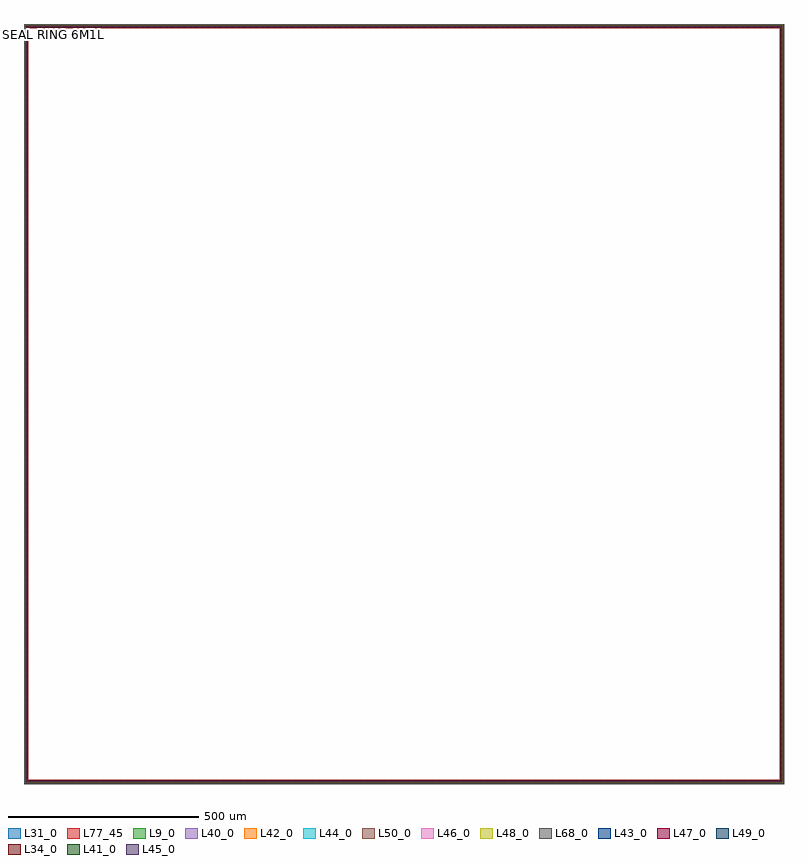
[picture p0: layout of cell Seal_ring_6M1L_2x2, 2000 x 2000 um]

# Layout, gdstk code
import gdstk
lib = gdstk.Library(unit=1e-6, precision=1e-09)
def P(c, l, *ps):  # polygons
    for p in ps: c.add(gdstk.Polygon(p, *l))
L9_0 = (9, 0)
L31_0 = (31, 0)
L34_0 = (34, 0)
L40_0 = (40, 0)
L41_0 = (41, 0)
L42_0 = (42, 0)
L43_0 = (43, 0)
L44_0 = (44, 0)
L45_0 = (45, 0)
L46_0 = (46, 0)
L47_0 = (47, 0)
L48_0 = (48, 0)
L49_0 = (49, 0)
L50_0 = (50, 0)
L68_0 = (68, 0)
L77_45 = (77, 45)

seal_ring_6m1l_2x2 = lib.new_cell('Seal_ring_6M1L_2x2')
P(seal_ring_6m1l_2x2, L9_0, [(0,0),(0,2000),(1990,2000),(1990,1990),(10,1990),(10,10),(1990,10),(1990,2000),(2000,2000),(2000,0)])
P(seal_ring_6m1l_2x2, L31_0, [(0,0),(0,2000),(1989,2000),(1989,1989),(11,1989),(11,11),(1989,11),(1989,2000),(2000,2000),(2000,0)])
P(seal_ring_6m1l_2x2, L34_0, [(9.38,9.38),(9.38,1990.62),(1990.4,1990.62),(1990.4,1990.4),(9.6,1990.4),(9.6,9.6),(1990.4,9.6),(1990.4,1990.62),(1990.62,1990.62),(1990.62,9.38)],
  [(6.94,6.94),(6.94,1993.06),(1992.84,1993.06),(1992.84,1992.84),(7.16,1992.84),(7.16,7.16),(1992.84,7.16),(1992.84,1993.06),(1993.06,1993.06),(1993.06,6.94)],
  [(4.5,4.5),(4.5,1995.5),(1995.28,1995.5),(1995.28,1995.28),(4.72,1995.28),(4.72,4.72),(1995.28,4.72),(1995.28,1995.5),(1995.5,1995.5),(1995.5,4.5)])
P(seal_ring_6m1l_2x2, L40_0, [(4.1,4.1),(4.1,1995.9),(1990,1995.9),(1990,1990),(10,1990),(10,10),(1990,10),(1990,1995.9),(1995.9,1995.9),(1995.9,4.1)])
P(seal_ring_6m1l_2x2, L41_0, [(8.14,8.14),(8.14,1991.86),(1991.6,1991.86),(1991.6,1991.6),(8.4,1991.6),(8.4,8.4),(1991.6,8.4),(1991.6,1991.86),(1991.86,1991.86),(1991.86,8.14)],
  [(5.7,5.7),(5.7,1994.3),(1994.04,1994.3),(1994.04,1994.04),(5.96,1994.04),(5.96,5.96),(1994.04,5.96),(1994.04,1994.3),(1994.3,1994.3),(1994.3,5.7)])
P(seal_ring_6m1l_2x2, L42_0, [(4.1,4.1),(4.1,1995.9),(1990,1995.9),(1990,1990),(10,1990),(10,10),(1990,10),(1990,1995.9),(1995.9,1995.9),(1995.9,4.1)])
P(seal_ring_6m1l_2x2, L43_0, [(9.36,9.36),(9.36,1990.64),(1990.38,1990.64),(1990.38,1990.38),(9.62,1990.38),(9.62,9.62),(1990.38,9.62),(1990.38,1990.64),(1990.64,1990.64),(1990.64,9.36)],
  [(6.92,6.92),(6.92,1993.08),(1992.82,1993.08),(1992.82,1992.82),(7.18,1992.82),(7.18,7.18),(1992.82,7.18),(1992.82,1993.08),(1993.08,1993.08),(1993.08,6.92)],
  [(4.48,4.48),(4.48,1995.52),(1995.26,1995.52),(1995.26,1995.26),(4.74,1995.26),(4.74,4.74),(1995.26,4.74),(1995.26,1995.52),(1995.52,1995.52),(1995.52,4.48)])
P(seal_ring_6m1l_2x2, L44_0, [(4.1,4.1),(4.1,1995.9),(1990,1995.9),(1990,1990),(10,1990),(10,10),(1990,10),(1990,1995.9),(1995.9,1995.9),(1995.9,4.1)])
P(seal_ring_6m1l_2x2, L45_0, [(8.14,8.14),(8.14,1991.86),(1991.6,1991.86),(1991.6,1991.6),(8.4,1991.6),(8.4,8.4),(1991.6,8.4),(1991.6,1991.86),(1991.86,1991.86),(1991.86,8.14)],
  [(5.7,5.7),(5.7,1994.3),(1994.04,1994.3),(1994.04,1994.04),(5.96,1994.04),(5.96,5.96),(1994.04,5.96),(1994.04,1994.3),(1994.3,1994.3),(1994.3,5.7)])
P(seal_ring_6m1l_2x2, L46_0, [(4.1,4.1),(4.1,1995.9),(1990,1995.9),(1990,1990),(10,1990),(10,10),(1990,10),(1990,1995.9),(1995.9,1995.9),(1995.9,4.1)])
P(seal_ring_6m1l_2x2, L47_0, [(9.36,9.36),(9.36,1990.64),(1990.38,1990.64),(1990.38,1990.38),(9.62,1990.38),(9.62,9.62),(1990.38,9.62),(1990.38,1990.64),(1990.64,1990.64),(1990.64,9.36)],
  [(6.92,6.92),(6.92,1993.08),(1992.82,1993.08),(1992.82,1992.82),(7.18,1992.82),(7.18,7.18),(1992.82,7.18),(1992.82,1993.08),(1993.08,1993.08),(1993.08,6.92)],
  [(4.48,4.48),(4.48,1995.52),(1995.26,1995.52),(1995.26,1995.26),(4.74,1995.26),(4.74,4.74),(1995.26,4.74),(1995.26,1995.52),(1995.52,1995.52),(1995.52,4.48)])
P(seal_ring_6m1l_2x2, L48_0, [(4.1,4.1),(4.1,1995.9),(1990,1995.9),(1990,1990),(10,1990),(10,10),(1990,10),(1990,1995.9),(1995.9,1995.9),(1995.9,4.1)])
P(seal_ring_6m1l_2x2, L49_0, [(8.09,8.09),(8.09,1991.91),(1991.55,1991.91),(1991.55,1991.55),(8.45,1991.55),(8.45,8.45),(1991.55,8.45),(1991.55,1991.91),(1991.91,1991.91),(1991.91,8.09)],
  [(5.65,5.65),(5.65,1994.35),(1993.99,1994.35),(1993.99,1993.99),(6.01,1993.99),(6.01,6.01),(1993.99,6.01),(1993.99,1994.35),(1994.35,1994.35),(1994.35,5.65)])
P(seal_ring_6m1l_2x2, L50_0, [(4.1,4.1),(4.1,1995.9),(1990,1995.9),(1990,1990),(10,1990),(10,10),(1990,10),(1990,1995.9),(1995.9,1995.9),(1995.9,4.1)])
P(seal_ring_6m1l_2x2, L68_0, [(0,0),(0,2000),(1998,2000),(1998,1998),(2,1998),(2,2),(1998,2),(1998,2000),(2000,2000),(2000,0)])
P(seal_ring_6m1l_2x2, L77_45, [(0,0),(0,2000),(1989,2000),(1989,1989),(11,1989),(11,11),(1989,11),(1989,2000),(2000,2000),(2000,0)])
seal_ring_6m1l_2x2.add(gdstk.Label('SEAL RING 6M1L', (26.75,1972.56), layer=77, texttype=7))

lib.write_gds('Seal_ring_6M1L_2x2.gds')
